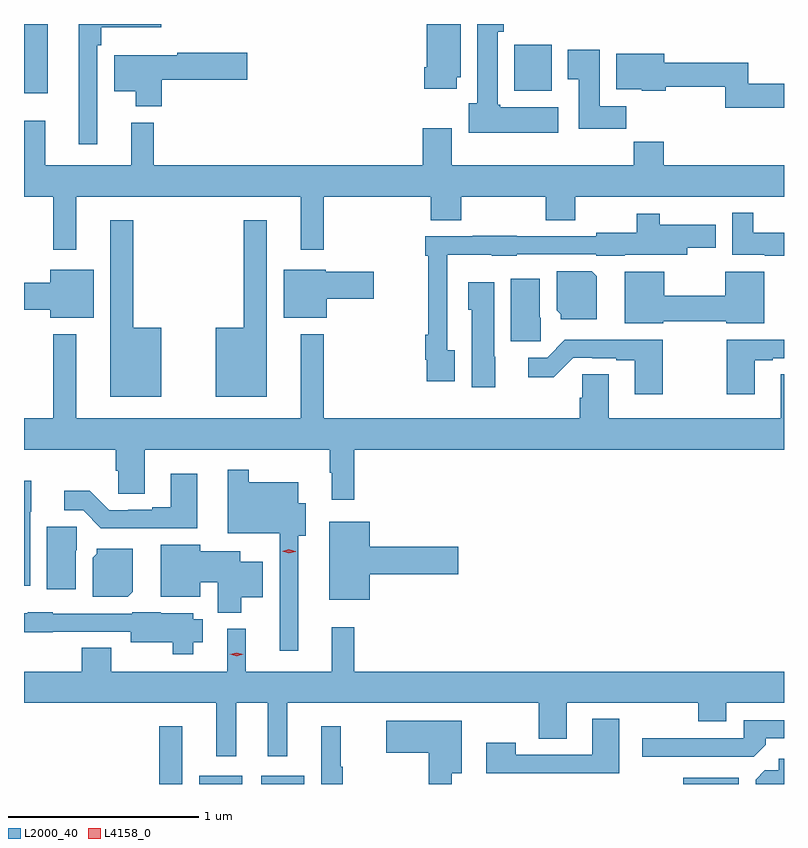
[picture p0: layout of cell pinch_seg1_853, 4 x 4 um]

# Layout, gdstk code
import gdstk
lib = gdstk.Library(unit=1e-6, precision=1e-09)
def R(c, l, rs):  # rectangles x0, y0, x1, y1
    for r in rs: c.add(gdstk.rectangle(r[:2], r[2:], *l))
def P(c, l, *ps):  # polygons
    for p in ps: c.add(gdstk.Polygon(p, *l))
L2000_40 = (2000, 40)
L4158_0 = (4158, 0)

pinch_seg1_853 = lib.new_cell('pinch_seg1_853')
R(pinch_seg1_853, L2000_40, [(481.842,518.004,481.963,518.308), (482.051,518.004,482.278,518.047), (482.378,518.004,482.605,518.047), (484.598,518.004,484.891,518.038), (481.129,521.639,481.255,522.004), (483.71,521.654,483.907,521.896)])
P(pinch_seg1_853, L2000_40, [(481.515,521.891),(481.535,521.891),(481.535,521.987),(481.852,521.987),(481.852,522.004),(481.418,522.004),(481.418,521.37),(481.515,521.37)],
  [(483.94,521.566),(483.636,521.566),(483.636,521.58),(483.622,521.58),(483.622,521.963),(483.655,521.963),(483.655,522.004),(483.515,522.004),(483.515,521.586),(483.47,521.586),(483.47,521.432),(483.94,521.432)],
  [(483.406,521.724),(483.427,521.724),(483.427,522.004),(483.248,522.004),(483.248,521.776),(483.236,521.776),(483.236,521.664),(483.406,521.664)],
  [(484.298,521.572),(484.159,521.572),(484.159,521.869),(483.992,521.869),(483.992,521.713),(484.049,521.713),(484.049,521.454),(484.298,521.454)],
  [(481.853,521.71),(482.305,521.71),(482.305,521.852),(481.936,521.852),(481.936,521.839),(481.604,521.839),(481.604,521.651),(481.718,521.651),(481.718,521.57),(481.853,521.57)],
  [(485.129,521.69),(484.942,521.69),(484.942,521.801),(484.498,521.801),(484.498,521.848),(484.247,521.848),(484.247,521.66),(484.38,521.66),(484.38,521.654),(484.506,521.654),(484.506,521.673),(484.821,521.673),(484.821,521.562),(485.129,521.562)],
  [(481.405,521.096),(482.585,521.096),(482.585,520.815),(482.707,520.815),(482.707,521.096),(483.269,521.096),(483.269,520.972),(483.429,520.972),(483.429,521.096),(483.874,521.096),(483.874,520.972),(484.029,520.972),(484.029,521.096),(485.129,521.096),(485.129,521.26),(484.496,521.26),(484.496,521.384),(484.339,521.384),(484.339,521.26),(483.379,521.26),(483.379,521.455),(483.227,521.455),(483.227,521.26),(481.811,521.26),(481.811,521.485),(481.694,521.485),(481.694,521.26),(481.241,521.26),(481.241,521.494),(481.129,521.494),(481.129,521.096),(481.284,521.096),(481.284,520.815),(481.405,520.815)],
  [(485.129,520.906),(484.966,520.906),(484.966,521.011),(484.857,521.011),(484.857,520.79),(485.028,520.79),(485.028,520.784),(485.129,520.784)],
  [(483.397,520.286),(483.357,520.286),(483.357,520.79),(483.591,520.79),(483.591,520.784),(483.723,520.784),(483.723,520.791),(484.14,520.791),(484.14,520.784),(484.29,520.784),(484.29,520.79),(484.621,520.79),(484.621,520.826),(484.771,520.826),(484.771,520.948),(484.474,520.948),(484.474,521.005),(484.353,521.005),(484.353,520.906),(484.14,520.906),(484.14,520.887),(483.723,520.887),(483.723,520.889),(483.491,520.889),(483.491,520.887),(483.241,520.887),(483.241,520.784),(483.256,520.784),(483.256,520.369),(483.241,520.369),(483.241,520.237),(483.249,520.237),(483.249,520.125),(483.397,520.125)],
  [(482.407,520.972),(482.286,520.972),(482.286,520.405),(482.138,520.405),(482.138,520.043),(482.407,520.043)],
  [(481.852,520.405),(481.705,520.405),(481.705,520.972),(481.583,520.972),(481.583,520.043),(481.852,520.043)],
  [(481.495,520.711),(481.268,520.711),(481.268,520.641),(481.129,520.641),(481.129,520.499),(481.268,520.499),(481.268,520.457),(481.495,520.457)],
  [(482.722,520.559),(482.971,520.559),(482.971,520.701),(482.718,520.701),(482.718,520.711),(482.495,520.711),(482.495,520.457),(482.722,520.457)],
  [(484.144,520.676),(484.118,520.702),(483.932,520.702),(483.932,520.498),(483.954,520.476),(483.954,520.451),(484.144,520.451)],
  [(484.494,520.439),(484.824,520.439),(484.824,520.43),(485.026,520.43),(485.026,520.7),(484.82,520.7),(484.82,520.573),(484.498,520.573),(484.498,520.7),(484.292,520.7),(484.292,520.43),(484.494,520.43)],
  [(483.848,520.458),(483.844,520.458),(483.844,520.663),(483.692,520.663),(483.692,520.335),(483.848,520.335)],
  [(483.61,520.254),(483.604,520.254),(483.604,520.645),(483.467,520.645),(483.467,520.5),(483.485,520.5),(483.485,520.092),(483.61,520.092)],
  [(485.129,520.16),(485.111,520.16),(485.111,519.928),(484.207,519.928),(484.207,520.16),(484.068,520.16),(484.068,520.038),(484.055,520.038),(484.055,519.928),(482.707,519.928),(482.707,520.372),(482.585,520.372),(482.585,519.928),(481.405,519.928),(481.405,520.372),(481.284,520.372),(481.284,519.928),(481.129,519.928),(481.129,519.764),(481.613,519.764),(481.613,519.654),(481.626,519.654),(481.626,519.532),(481.765,519.532),(481.765,519.764),(482.739,519.764),(482.739,519.641),(482.75,519.641),(482.75,519.501),(482.867,519.501),(482.867,519.764),(485.129,519.764)],
  [(484.975,520.233),(485.071,520.233),(485.071,520.245),(485.129,520.245),(485.129,520.343),(484.828,520.343),(484.828,520.056),(484.975,520.056)],
  [(484.491,520.342),(483.976,520.342),(483.882,520.248),(483.783,520.248),(483.783,520.145),(483.918,520.145),(484.02,520.248),(484.12,520.248),(484.12,520.245),(484.247,520.245),(484.247,520.233),(484.343,520.233),(484.343,520.056),(484.491,520.056)],
  [(482.572,519.311),(482.611,519.311),(482.611,519.481),(482.572,519.481),(482.572,519.592),(482.311,519.592),(482.311,519.658),(482.202,519.658),(482.202,519.323),(482.475,519.323),(482.475,518.706),(482.572,518.706)],
  [(482.041,519.637),(481.901,519.637),(481.901,519.46),(481.805,519.46),(481.805,519.447),(481.678,519.447),(481.678,519.444),(481.578,519.444),(481.476,519.547),(481.341,519.547),(481.341,519.444),(481.44,519.444),(481.534,519.35),(482.041,519.35)],
  [(481.162,519.438),(481.168,519.438),(481.168,519.601),(481.129,519.601),(481.129,519.048),(481.162,519.048)],
  [(482.95,519.107),(483.415,519.107),(483.415,519.254),(482.95,519.254),(482.95,519.385),(482.735,519.385),(482.735,518.975),(482.95,518.975)],
  [(481.402,519.234),(481.406,519.234),(481.406,519.357),(481.25,519.357),(481.25,519.03),(481.402,519.03)],
  [(482.272,518.987),(482.386,518.987),(482.386,519.175),(482.266,519.175),(482.266,519.229),(482.056,519.229),(482.056,519.262),(481.85,519.262),(481.85,518.99),(482.056,518.99),(482.056,519.065),(482.15,519.065),(482.15,518.906),(482.272,518.906)],
  [(481.702,519.016),(481.702,519.241),(481.512,519.241),(481.512,519.216),(481.49,519.194),(481.49,518.99),(481.676,518.99)],
  [(482.021,518.75),(482.071,518.75),(482.071,518.872),(482.02,518.872),(482.02,518.902),(481.848,518.902),(481.848,518.908),(481.698,518.908),(481.698,518.901),(481.281,518.901),(481.281,518.908),(481.149,518.908),(481.149,518.902),(481.129,518.902),(481.129,518.804),(481.281,518.804),(481.281,518.805),(481.691,518.805),(481.691,518.75),(481.911,518.75),(481.911,518.687),(482.021,518.687)],
  [(482.245,518.432),(482.411,518.432),(482.411,518.151),(482.515,518.151),(482.515,518.432),(483.838,518.432),(483.838,518.242),(483.985,518.242),(483.985,518.432),(484.678,518.432),(484.678,518.333),(484.825,518.333),(484.825,518.432),(485.129,518.432),(485.129,518.596),(482.867,518.596),(482.867,518.83),(482.75,518.83),(482.75,518.596),(482.297,518.596),(482.297,518.821),(482.199,518.821),(482.199,518.596),(481.587,518.596),(481.587,518.72),(481.432,518.72),(481.432,518.596),(481.129,518.596),(481.129,518.432),(482.141,518.432),(482.141,518.151),(482.245,518.151)],
  [(484.261,518.347),(484.121,518.347),(484.121,518.157),(483.717,518.157),(483.717,518.221),(483.561,518.221),(483.561,518.061),(484.261,518.061)],
  [(485.033,518.21),(485.033,518.244),(485.129,518.244),(485.129,518.34),(484.917,518.34),(484.917,518.244),(484.383,518.244),(484.383,518.148),(484.971,518.148)],
  [(483.379,518.06),(483.433,518.06),(483.433,518.338),(483.036,518.338),(483.036,518.168),(483.259,518.168),(483.259,518.004),(483.379,518.004)],
  [(482.807,518.095),(482.797,518.095),(482.797,518.308),(482.693,518.308),(482.693,518.004),(482.807,518.004)],
  [(485.129,518.137),(485.102,518.137),(485.102,518.076),(485.028,518.076),(484.979,518.027),(484.979,518.004),(485.129,518.004)])
P(pinch_seg1_853, L4158_0, [(482.248,518.676),(482.212,518.686),(482.212,518.686),(482.212,518.686),(482.248,518.696),(482.283,518.686),(482.283,518.686),(482.283,518.686)],
  [(482.522,519.219),(482.487,519.23),(482.486,519.23),(482.487,519.23),(482.523,519.239),(482.558,519.228),(482.558,519.228),(482.558,519.227)])

lib.write_gds('pinch_seg1_853.gds')
